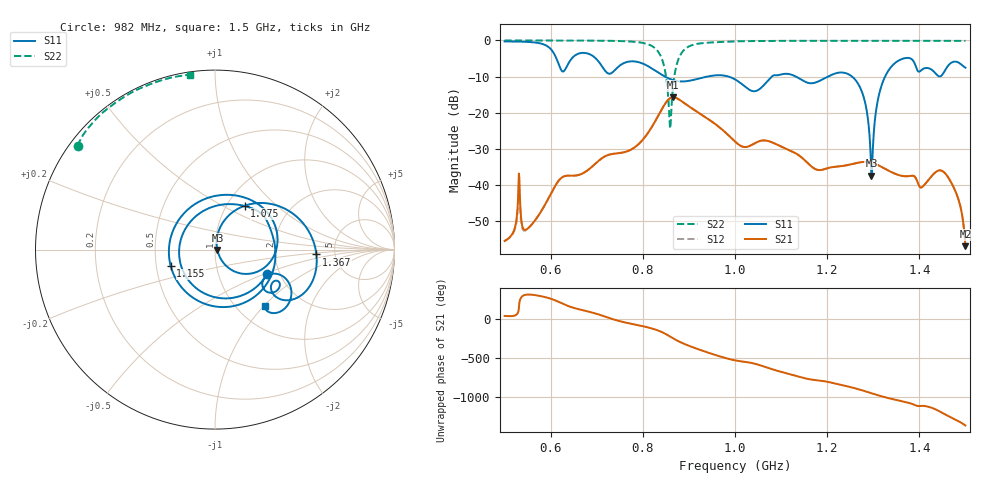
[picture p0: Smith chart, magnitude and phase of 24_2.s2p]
! TOUCHSTONE file generated by CST MICROWAVE STUDIO
! Date and time: Thu Feb 11 19:34:09 2021
! Project name: Scenario_1_Planar_Body_Tissue_Out_of_Line.cst
! Parameters = {L_HA=400; Ltissue=1000; MT=2.54; Rad_Dielectric=30; Rad_Lower=7.3; Rad_Upper=30; Wtissue=1000; a_HA=580; a_WG=246; b_HA=500; b_WG=121; c_HA=0; c_WG=187; d_feed=85; dx1=346; dy1=51.9; h_feed=15; h_lower=18; h_upper=40; hfat=3; hgap=25; hmuscle=50; hskin=1.5}
! Header version: 2018
! Port assignment regex: !\s*Touchstone port\s*([0-9]+)\s*=\s*(CST MWS port|CST DS port)\s*([0-9]+|Zmin|Zmax)\s*\(\"(.*)\"\)(\s*mode\s*([0-9]+))?.*
! Touchstone port assignment:
! Touchstone port 1 = CST MWS port 1 ("")
! Touchstone port 2 = CST MWS port 2 ("")
# GHz S DB R 50
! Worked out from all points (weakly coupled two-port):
!   1003 points, 500 MHz to 1.5 GHz, reference 50 ohm
!   highest |S21| = -15.72 dB at 866 MHz (marker M1); lowest = -56.9 dB at 1.5 GHz (marker M2)
!   lowest |S11| = -37.4 dB at 1.296 GHz (marker M3), VSWR 1.03, Z = 51.3 - j0.215 ohm
!   |S11| at or under -10 dB: 848 MHz to 939.6 MHz (91.61 MHz wide, 10.2 % of centre); 986.1 MHz to 1.08 GHz (93.71 MHz wide, 9.07 % of centre); 1.254 GHz to 1.326 GHz (71.61 MHz wide, 5.55 % of centre) (the widest 3 of 4)
!   |S22| runs from -24.3 to 0.0 dB; largest |S21 - S12| = 0.0072
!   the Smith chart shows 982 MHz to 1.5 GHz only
!   S11 on the Smith chart (normalised r, x): 982 MHz: 1.73, -0.52; 1.075 GHz: 1.21, +0.64; 1.155 GHz: 0.60, -0.12; 1.367 GHz: 3.58, -0.28; 1.5 GHz: 1.33, -1.01
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0.5  -0.27 -121.5  -55.45 35.4  -55.45 35.4  -0.01 151.2
0.53  -0.32 -134.7  -40.82 96.1  -44.34 110.5  -0.01 149.2
0.548  -0.39 -144.4  -52.22 -53.4  -52.33 -53.5  -0.01 147.9
0.667  -3.46 155.0  -36.91 112.1  -36.91 112.1  -0.04 138.4
0.716  -8.02 22.5  -32.18 30.8  -32.18 30.8  -0.09 132.8
0.74  -8.12 -99.7  -31.29 -15.1  -31.29 -15.1  -0.14 129.3
0.768  -5.88 175.1  -30.56 -56.1  -30.56 -56.1  -0.26 123.6
0.834  -8.94 23.9  -20.69 -152.3  -20.69 -152.3  -3.24 85.6
0.858  -10.62 -44.3  -16.08 137.4  -16.08 137.4  -22.43 -4.4
0.866  -10.99 -69.9  -15.72 109.5  -15.72 109.5  -12.22 -135.1
0.932  -10.22 90.2  -20.89 -52.5  -20.89 -52.6  -0.72 153.3
0.982  -9.86 -24.6  -25.77 -144.6  -25.77 -144.6  -0.36 143.0
1  -10.77 -66.7  -27.96 -169.7  -27.96 -169.7  -0.27 140.4
1.075  -10.64 55.8  -27.93 87.8  -27.93 87.8  -0.14 132.0
1.155  -11.59 -159.4  -33.57 -42.4  -33.57 -42.4  -0.11 125.2
1.167  -11.84 162.3  -34.96 -55.0  -34.96 -55.0  -0.10 124.3
1.26  -10.73 -20.7  -34.01 -164.4  -34.01 -164.4  -0.08 117.1
1.296  -37.41 -9.0  -33.79 132.0  -33.79 132.0  -0.08 114.4
1.334  -8.14 41.1  -36.07 68.4  -36.07 68.4  -0.09 111.6
1.367  -4.95 -2.7  -37.54 23.7  -37.54 23.7  -0.09 109.0
1.455  -8.46 -21.2  -36.61 -134.4  -36.61 -134.4  -0.11 101.9
1.5  -7.55 -48.7  -56.89 81.9  -56.89 81.9  -0.13 98.0
